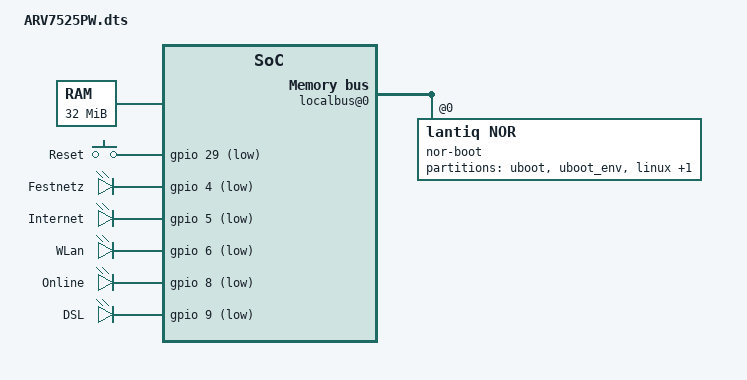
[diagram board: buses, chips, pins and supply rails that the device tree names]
/dts-v1/;

/include/ "danube.dtsi"

/ {
	chosen {
		bootargs = "console=ttyLTQ0,115200 init=/etc/preinit";
	};

	memory@0 {
		reg = <0x0 0x2000000>;
	};

	fpi@10000000 {
		#address-cells = <1>;
		#size-cells = <1>;
		localbus@0 {
			#address-cells = <2>;
			#size-cells = <1>;
			ranges = <0 0 0x0 0x3ffffff /* addrsel0 */
				1 0 0x4000000 0x4000010>; /* addsel1 */
			compatible = "lantiq,localbus", "simple-bus";

			nor-boot@0 {
				compatible = "lantiq,nor";
				bank-width = <2>;
				reg = <0 0x0 0x2000000>;
				#address-cells = <1>;
				#size-cells = <1>;

				partition@0 {
					label = "uboot";
					reg = <0x00000 0x10000>; /* 64 KB */
				};

				partition@10000 {
					label = "uboot_env";
					reg = <0x10000 0x10000>; /* 64 KB */
				};

				partition@20000 {
					label = "linux";
					reg = <0x20000 0x3c0000>;
				};

				partition@400000 {
					label = "boardconfig";
					reg = <0x3f0000 0x10000>;
				};
			};
		};

		gpio: pinmux@E100B10 {
			compatible = "lantiq,pinctrl-xway";
			pinctrl-names = "default";
			pinctrl-0 = <&state_default>;

			#gpio-cells = <2>;
			gpio-controller;
			reg = <0xE100B10 0xA0>;

			state_default: pinmux {
				exin {
					lantiq,groups = "exin1";
					lantiq,function = "exin";
				};
				pci {
					lantiq,groups = "gnt1", "req1";
					lantiq,function = "pci";
				};
			};
		};

		adsl: dsl@E116000 {
			compatible = "lantiq,dsl-xway";
			interrupt-parent = <&icu0>;
			interrupts = <63 96>;
		};
		etop@E180000 {
			compatible = "lantiq,etop-xway";
			reg = <0xE180000 0x40000>;
			interrupt-parent = <&icu0>;
			interrupts = <73 78>;
			phy-mode = "rmii";
			mac-address = [ 00 11 22 33 44 55 ];
		};

		pci@E105400 {
			lantiq,bus-clock = <33333333>;
			interrupt-map-mask = <0xf800 0x0 0x0 0x7>;
			interrupt-map = <
                                0x7000 0 0 1 &icu0 30 1 // slot 14, irq 29
			>;
			gpios-reset = <&gpio 21 0>;
			req-mask = <0x1>;		/* GNT1 */
		};

	};

	sflash@E100800 {
		compatible = "lantiq,sflash_at45";
		reg = <0xE100800 0x100>;
		#address-cells = <1>;
		#size-cells = <1>;

		partition@0 {
			label = "uboot";
			reg = <0x00000 0x10000>;
		};

		partition@10000 {
			label = "uboot_env";
			reg = <0x10000 0x10000>;
		};

		partition@20000 {
			label = "linux";
			reg = <0x20000 0x1d0000>;
		};
	};

	gpio-keys {
		compatible = "gpio-keys1";
		reset {
			label = "Reset";
			gpios = <&gpio 29 1>;
			gpio-key,wakeup;
			linux,code = <0x100>;
		};
	};
	gpio-leds {
		compatible = "gpio-leds";
		festnetz {
			label = "Festnetz";
			gpios = <&gpio 4 1>;
			default-state = "on";
		};
		internet {
			label = "Internet";
			gpios = <&gpio 5 1>;
			default-state = "on";
		};
		wlan {
			label = "WLan";
			gpios = <&gpio 6 1>;
			default-state = "on";
		};
		online {
			label = "Online";
			gpios = <&gpio 8 1>;
			default-state = "on";
		};
		dsl {
			label = "DSL";
			gpios = <&gpio 9 1>;
			default-state = "on";
		};
	};
};
